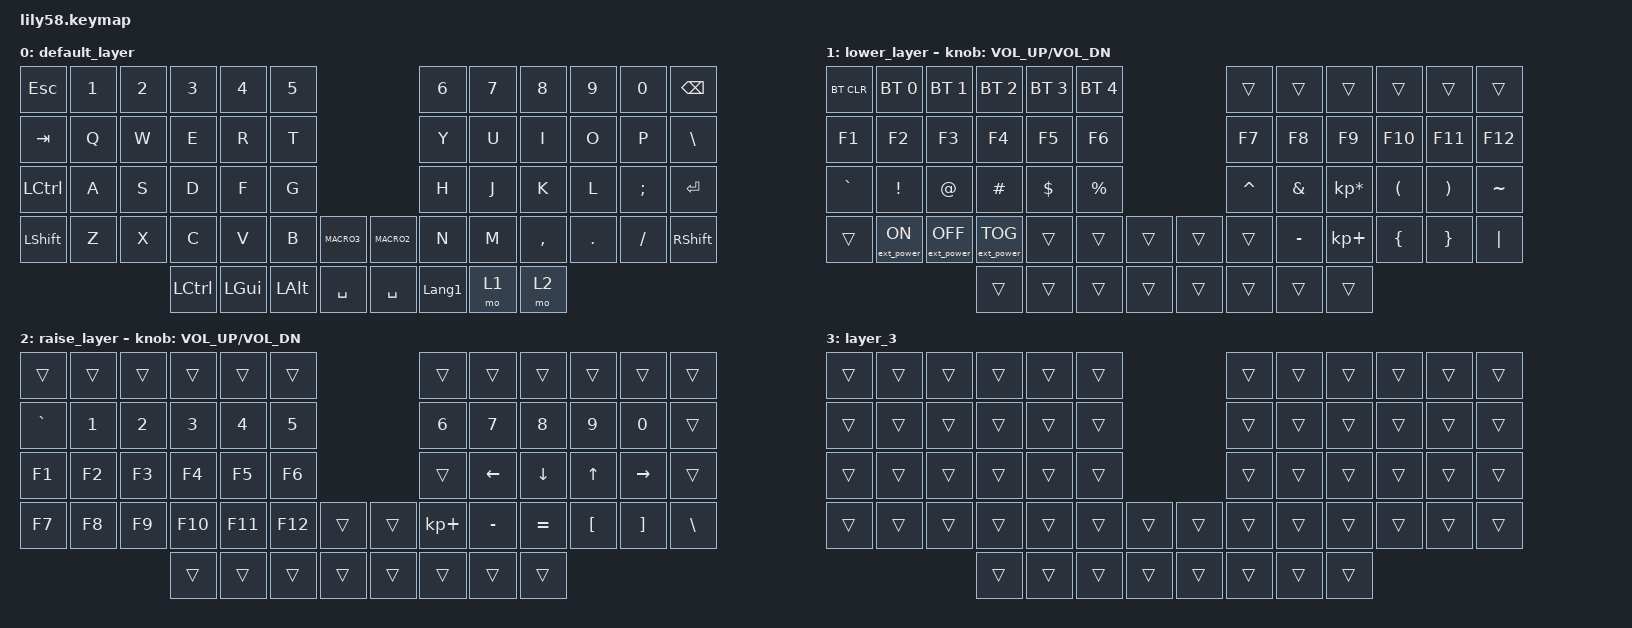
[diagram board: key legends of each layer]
/*
 * Copyright (c) 2020 The ZMK Contributors
 *
 * SPDX-License-Identifier: MIT
 */

#include <behaviors.dtsi>
#include <dt-bindings/zmk/bt.h>
#include <dt-bindings/zmk/ext_power.h>
#include <dt-bindings/zmk/keys.h>

/ {
    macros {
        MACRO1: MACRO1 {
            compatible = "zmk,behavior-macro";
            #binding-cells = <0>;
            bindings = <&kp DQT &kp DQT &kp LEFT>;
            label = "MACRO1";
        };
        MACRO2: MACRO2 {
            compatible = "zmk,behavior-macro";
            #binding-cells = <0>;
            bindings = <&kp SQT &kp SQT &kp LEFT>;
            label = "MACRO2";
        };
        MACRO3: MACRO3 {
            compatible = "zmk,behavior-macro";
            #binding-cells = <0>;
            bindings = <&kp LBKT &kp RBKT &kp LEFT>;
            label = "MACRO3";
        };
        MACR4: MACR4 {
            compatible = "zmk,behavior-macro";
            #binding-cells = <0>;
            bindings = <&kp LBRC &kp RBRC &kp LEFT>;
            label = "MACR4";
        };
    };

    keymap {
        compatible = "zmk,keymap";

        default_layer {
            // ------------------------------------------------------------------------------------------------------------
            // |  ESC  |  1  |  2  |  3   |  4   |  5   |                   |  6   |  7    |  8    |  9   |   0   |   `   |
            // |  TAB  |  Q  |  W  |  E   |  R   |  T   |                   |  Y   |  U    |  I    |  O   |   P   |   -   |
            // |  CTRL |  A  |  S  |  D   |  F   |  G   |                   |  H   |  J    |  K    |  L   |   ;   |   '   |
            // | SHIFT |  Z  |  X  |  C   |  V   |  B   |   "["  |  |  "]"  |  N   |  M    |  ,    |  .   |   /   | SHIFT |
            //                     | ALT  | GUI  | LOWER|  SPACE |  | ENTER | RAISE| BSPC  | GUI   |

            bindings = <
&kp ESC    &kp N1  &kp N2  &kp N3     &kp N4    &kp N5                                &kp N6          &kp N7  &kp N8     &kp N9   &kp N0    &kp BACKSPACE
&kp TAB    &kp Q   &kp W   &kp E      &kp R     &kp T                                 &kp Y           &kp U   &kp I      &kp O    &kp P     &kp BACKSLASH
&kp LCTRL  &kp A   &kp S   &kp D      &kp F     &kp G                                 &kp H           &kp J   &kp K      &kp L    &kp SEMI  &kp ENTER
&kp LSHFT  &kp Z   &kp X   &kp C      &kp V     &kp B         &MACRO3      &MACRO2    &kp N           &kp M   &kp COMMA  &kp DOT  &kp FSLH  &kp RSHFT
                           &kp LCTRL  &kp LGUI  &kp LEFT_ALT  &kp SPACE    &kp SPACE  &kp LANGUAGE_1  &mo 1   &mo 2
            >;
        };

        lower_layer {
            // ------------------------------------------------------------------------------------------------------------
            // | BTCLR | BT1 | BT2 |  BT3 |  BT4 |  BT5 |                   |      |       |       |      |       |       |
            // |  F1   |  F2 |  F3 |  F4  |  F5  |  F6  |                   |  F7  |  F8   |  F9   |  F10 |  F11  |  F12  |
            // |   `   |  !  |  @  |  #   |  $   |  %   |                   |  ^   |  &    |  *    |  (   |   )   |   ~   |
            // |       |     |     |      |      |      |        |  |       |      |  _    |  +    |  {   |   }   |  "|"  |
            //                     |      |      |      |        |  |       |      |       |       |

            bindings = <
&bt BT_CLR  &bt BT_SEL 0      &bt BT_SEL 1       &bt BT_SEL 2       &bt BT_SEL 3  &bt BT_SEL 4                    &trans     &trans     &trans           &trans    &trans    &trans
&kp F1      &kp F2            &kp F3             &kp F4             &kp F5        &kp F6                          &kp F7     &kp F8     &kp F9           &kp F10   &kp F11   &kp F12
&kp GRAVE   &kp EXCL          &kp AT             &kp HASH           &kp DOLLAR    &kp PRCNT                       &kp CARET  &kp AMPS   &kp KP_MULTIPLY  &kp LPAR  &kp RPAR  &kp TILDE
&trans      &ext_power EP_ON  &ext_power EP_OFF  &ext_power EP_TOG  &trans        &trans        &trans    &trans  &trans     &kp MINUS  &kp KP_PLUS      &kp LBRC  &kp RBRC  &kp PIPE
                                                 &trans             &trans        &trans        &trans    &trans  &trans     &trans     &trans
            >;

            sensor-bindings = <&inc_dec_kp C_VOL_UP C_VOL_DN>;
        };

        raise_layer {
            // ------------------------------------------------------------------------------------------------------------
            // |       |     |     |      |      |      |                   |      |       |       |      |       |       |
            // |   `   |  1  |  2  |  3   |  4   |  5   |                   |  6   |   7   |   8   |  9   |   0   |       |
            // |   F1  |  F2 |  F3 |  F4  |  F5  |  F6  |                   |      |   <-  |   v   |  ^   |  ->   |       |
            // |   F7  |  F8 |  F9 |  F10 |  F11 |  F12 |        |  |       |  +   |   -   |   =   |  [   |   ]   |   \   |
            //                     |      |      |      |        |  |       |      |       |       |

            bindings = <
&trans     &trans  &trans  &trans   &trans   &trans                     &trans       &trans     &trans     &trans    &trans     &trans
&kp GRAVE  &kp N1  &kp N2  &kp N3   &kp N4   &kp N5                     &kp N6       &kp N7     &kp N8     &kp N9    &kp N0     &trans
&kp F1     &kp F2  &kp F3  &kp F4   &kp F5   &kp F6                     &trans       &kp LEFT   &kp DOWN   &kp UP    &kp RIGHT  &trans
&kp F7     &kp F8  &kp F9  &kp F10  &kp F11  &kp F12  &trans    &trans  &kp KP_PLUS  &kp MINUS  &kp EQUAL  &kp LBKT  &kp RBKT   &kp BSLH
                           &trans   &trans   &trans   &trans    &trans  &trans       &trans     &trans
            >;

            sensor-bindings = <&inc_dec_kp C_VOL_UP C_VOL_DN>;
        };

        layer_3 {
            bindings = <
&trans  &trans  &trans  &trans  &trans  &trans                    &trans  &trans  &trans  &trans  &trans  &trans
&trans  &trans  &trans  &trans  &trans  &trans                    &trans  &trans  &trans  &trans  &trans  &trans
&trans  &trans  &trans  &trans  &trans  &trans                    &trans  &trans  &trans  &trans  &trans  &trans
&trans  &trans  &trans  &trans  &trans  &trans  &trans    &trans  &trans  &trans  &trans  &trans  &trans  &trans
                        &trans  &trans  &trans  &trans    &trans  &trans  &trans  &trans
            >;
        };
    };
};
